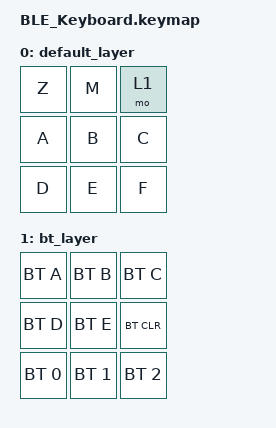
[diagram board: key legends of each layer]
#include <behaviors.dtsi>
#include <dt-bindings/zmk/bt.h>
#include <dt-bindings/zmk/keys.h>

/ {
    keymap {
        compatible = "zmk,keymap";

        default_layer { // Layer 0
            // -------------------------------------
            // |     Z     |     M     |     K     |
            // |     A     |     B     |     C     |
            // |     D     |     E     |     F     |
            bindings = <
                &kp Z    &kp M    &mo 1
                &kp A    &kp B    &kp C
                &kp D    &kp E    &kp F
            >;
        };

        bt_layer { // Layer bt
            // -------------------------------------
            // |     Z     |     M     |     K     |
            // |     A     |     B     |     C     |
            // |     D     |     E     |     F     |
            bindings = <
                &bt A    &bt B    &bt C
                &bt D    &bt E    &bt BT_CLR
                &bt BT_SEL 0   &bt BT_SEL 1   &bt BT_SEL 2
            >;
        };
    };
 };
